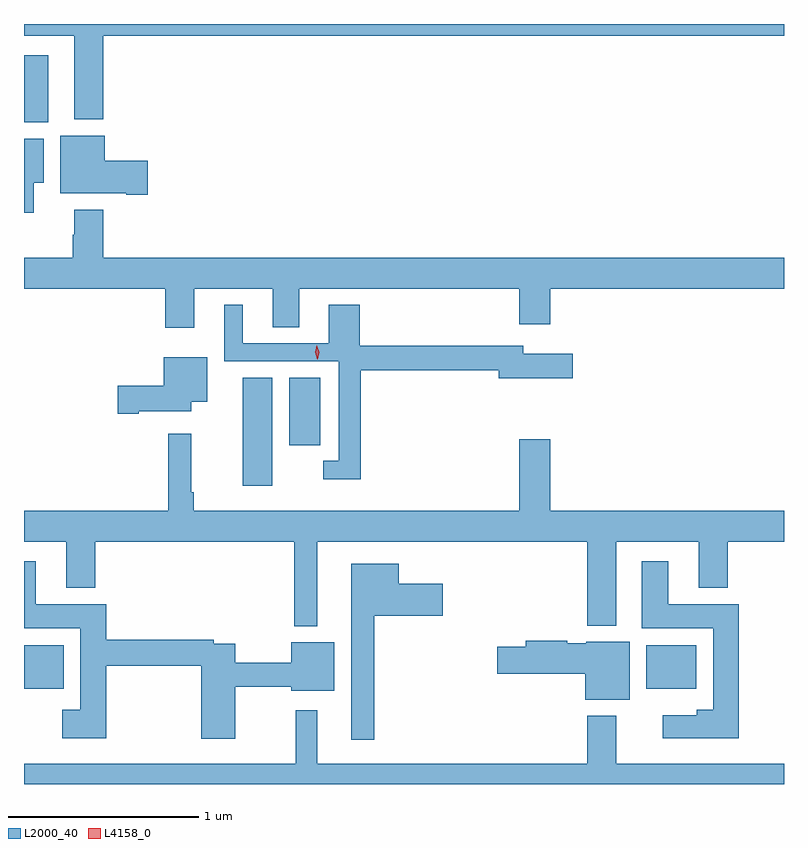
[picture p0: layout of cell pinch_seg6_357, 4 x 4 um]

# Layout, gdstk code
import gdstk
lib = gdstk.Library(unit=1e-6, precision=1e-09)
def R(c, l, rs):  # rectangles x0, y0, x1, y1
    for r in rs: c.add(gdstk.rectangle(r[:2], r[2:], *l))
def P(c, l, *ps):  # polygons
    for p in ps: c.add(gdstk.Polygon(p, *l))
L2000_40 = (2000, 40)
L4158_0 = (4158, 0)

pinch_seg6_357 = lib.new_cell('pinch_seg6_357')
R(pinch_seg6_357, L2000_40, [(665.897,937.238,666.106,937.468), (669.173,937.238,669.436,937.468), (667.049,938.307,667.204,938.876), (667.292,938.52,667.456,938.876), (665.897,940.22,666.025,940.573)])
P(pinch_seg6_357, L2000_40, [(666.314,940.676),(669.897,940.676),(669.897,940.737),(665.897,940.737),(665.897,940.676),(666.161,940.676),(666.161,940.235),(666.314,940.235)],
  [(666.547,940.016),(666.322,940.016),(666.322,940.15),(666.089,940.15),(666.089,939.845),(666.434,939.845),(666.434,939.838),(666.547,939.838)],
  [(665.947,939.902),(666.001,939.902),(666.001,940.132),(665.897,940.132),(665.897,939.744),(665.947,939.744)],
  [(666.793,939.344),(667.205,939.344),(667.205,939.142),(667.345,939.142),(667.345,939.344),(668.504,939.344),(668.504,939.156),(668.668,939.156),(668.668,939.344),(669.897,939.344),(669.897,939.508),(666.314,939.508),(666.314,939.76),(666.161,939.76),(666.161,939.629),(666.154,939.629),(666.154,939.508),(665.897,939.508),(665.897,939.344),(666.641,939.344),(666.641,939.138),(666.793,939.138)],
  [(667.67,938.914),(668.396,938.914),(668.396,938.872),(668.785,938.872),(668.785,939.001),(668.524,939.001),(668.524,939.043),(667.664,939.043),(667.664,939.259),(667.502,939.259),(667.502,939.057),(667.048,939.057),(667.048,939.259),(666.95,939.259),(666.95,938.961),(667.554,938.961),(667.554,938.439),(667.473,938.439),(667.473,938.342),(667.67,938.342)],
  [(666.502,938.699),(666.778,938.699),(666.778,938.75),(666.862,938.75),(666.862,938.983),(666.632,938.983),(666.632,938.834),(666.39,938.834),(666.39,938.687),(666.502,938.687)],
  [(667.32,937.568),(667.441,937.568),(667.441,938.012),(668.861,938.012),(668.861,937.571),(669.013,937.571),(669.013,938.012),(669.449,938.012),(669.449,937.769),(669.602,937.769),(669.602,938.012),(669.897,938.012),(669.897,938.176),(668.668,938.176),(668.668,938.551),(668.504,938.551),(668.504,938.176),(666.791,938.176),(666.791,938.272),(666.776,938.272),(666.776,938.581),(666.655,938.581),(666.655,938.176),(665.897,938.176),(665.897,938.012),(666.119,938.012),(666.119,937.769),(666.272,937.769),(666.272,938.012),(667.32,938.012)],
  [(669.659,937.684),(669.289,937.684),(669.289,937.909),(669.149,937.909),(669.149,937.556),(669.524,937.556),(669.524,937.129),(669.437,937.129),(669.437,937.099),(669.258,937.099),(669.258,936.977),(669.659,936.977)],
  [(667.008,937.248),(667.304,937.248),(667.304,937.229),(667.531,937.229),(667.531,937.483),(667.304,937.483),(667.304,937.376),(667.008,937.376),(667.008,937.476),(666.896,937.476),(666.896,937.496),(666.329,937.496),(666.329,937.684),(665.959,937.684),(665.959,937.909),(665.897,937.909),(665.897,937.556),(666.194,937.556),(666.194,937.129),(666.099,937.129),(666.099,936.977),(666.329,936.977),(666.329,937.36),(666.83,937.36),(666.83,936.975),(667.008,936.975)],
  [(667.741,937.622),(668.101,937.622),(668.101,937.792),(667.87,937.792),(667.87,937.897),(667.619,937.897),(667.619,936.969),(667.741,936.969)],
  [(669.085,937.486),(668.856,937.486),(668.856,937.477),(668.756,937.477),(668.756,937.49),(668.537,937.49),(668.537,937.46),(668.388,937.46),(668.388,937.318),(668.852,937.318),(668.852,937.181),(669.085,937.181)],
  [(669.897,936.844),(669.013,936.844),(669.013,937.096),(668.861,937.096),(668.861,936.844),(667.441,936.844),(667.441,937.126),(667.327,937.126),(667.327,936.844),(665.897,936.844),(665.897,936.737),(669.897,936.737)])
P(pinch_seg6_357, L4158_0, [(667.441,938.973),(667.43,939.009),(667.438,939.045),(667.438,939.046),(667.439,939.045),(667.45,939.01),(667.442,938.973),(667.442,938.973)])

lib.write_gds('pinch_seg6_357.gds')
